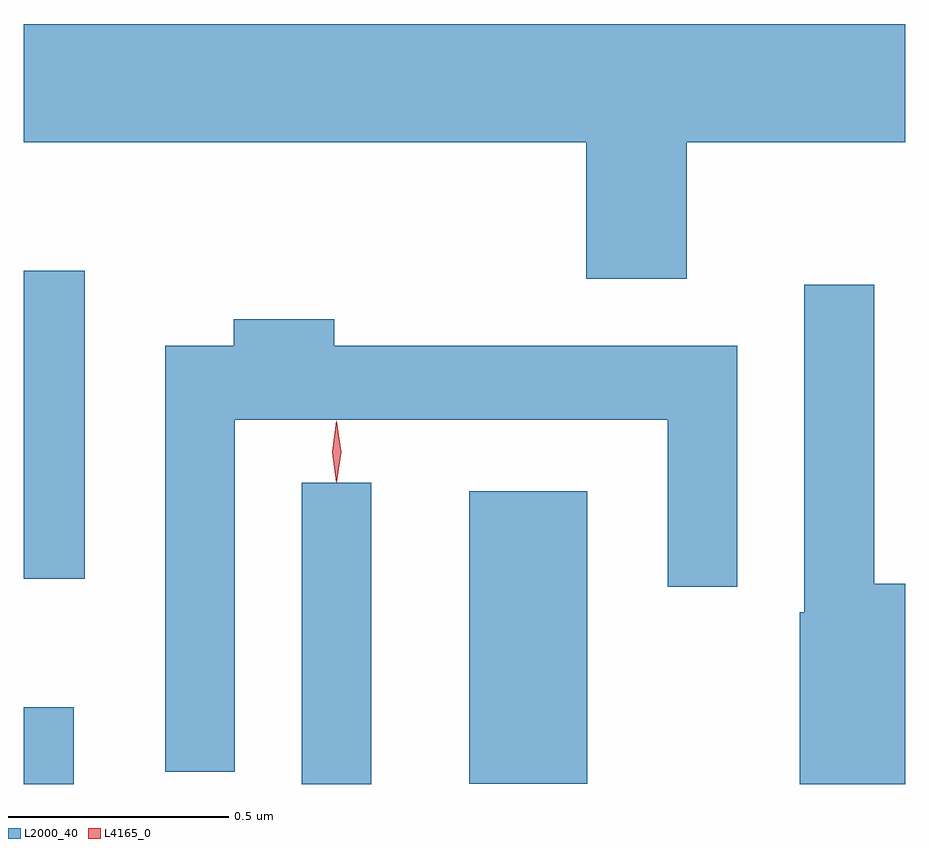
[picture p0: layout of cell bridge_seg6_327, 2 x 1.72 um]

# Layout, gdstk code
import gdstk
lib = gdstk.Library(unit=1e-6, precision=1e-09)
def R(c, l, rs):  # rectangles x0, y0, x1, y1
    for r in rs: c.add(gdstk.rectangle(r[:2], r[2:], *l))
def P(c, l, *ps):  # polygons
    for p in ps: c.add(gdstk.Polygon(p, *l))
L2000_40 = (2000, 40)
L4165_0 = (4165, 0)

bridge_seg6_327 = lib.new_cell('bridge_seg6_327')
R(bridge_seg6_327, L2000_40, [(1304.635,1533.04,1304.749,1533.214), (1305.266,1533.04,1305.424,1533.723), (1305.646,1533.041,1305.914,1533.704), (1304.635,1533.506,1304.774,1534.204)])
P(bridge_seg6_327, L2000_40, [(1306.139,1534.496),(1306.635,1534.496),(1306.635,1534.764),(1304.635,1534.764),(1304.635,1534.496),(1305.911,1534.496),(1305.911,1534.186),(1306.139,1534.186)],
  [(1306.635,1533.494),(1306.564,1533.494),(1306.564,1534.173),(1306.406,1534.173),(1306.406,1533.43),(1306.396,1533.43),(1306.396,1533.04),(1306.635,1533.04)],
  [(1305.114,1533.866),(1306.096,1533.866),(1306.096,1533.488),(1306.254,1533.488),(1306.254,1534.034),(1305.339,1534.034),(1305.339,1534.094),(1305.111,1534.094),(1305.111,1534.034),(1304.956,1534.034),(1304.956,1533.068),(1305.114,1533.068)])
P(bridge_seg6_327, L4165_0, [(1305.344,1533.724),(1305.335,1533.793),(1305.344,1533.863),(1305.345,1533.863),(1305.345,1533.863),(1305.355,1533.793),(1305.345,1533.724),(1305.345,1533.724)],
  [(1305.344,1533.727),(1305.335,1533.794),(1305.344,1533.86),(1305.345,1533.861),(1305.345,1533.86),(1305.355,1533.794),(1305.345,1533.727),(1305.345,1533.727)])

lib.write_gds('bridge_seg6_327.gds')
